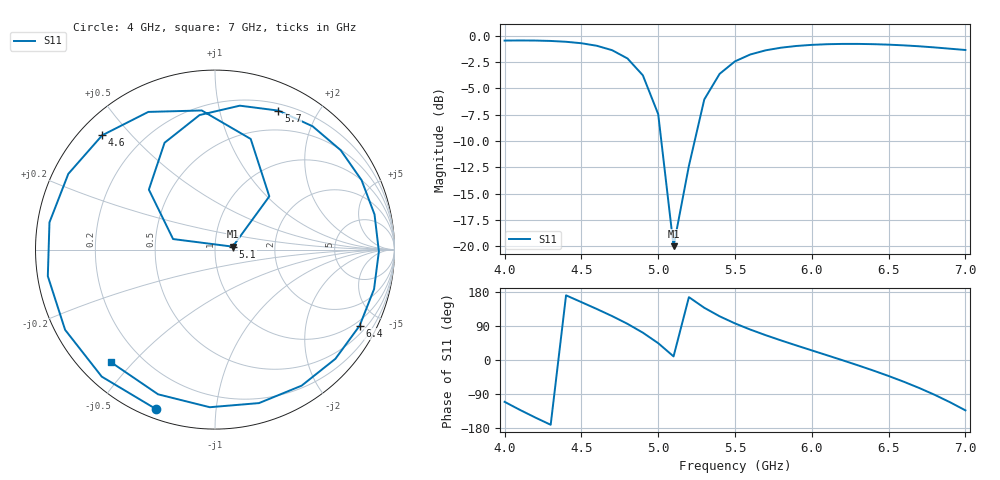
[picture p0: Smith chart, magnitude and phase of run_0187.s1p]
! Touchstone file exported from HFSS 2024.2.0
!  File:  C:/Users/wsak9/Desktop/Sim Fast/Widenad Patch/WP_AI_V1_sweep.aedt
!  Generated:  10:45:12 PM Oct 13, 2026
!  Design:  A1_model
!  Project:  WP_AI_V1_sweep
!  Setup:  Setup1
!  Solution:  Sweep
! Variables:
!  Air_gap = 4.49mm
!  Curve_Amp1 = 1.63
!  Curve_len1 = 1
!  Curve_pos = 11.54mm
!  Extra = 3.86mm
!  H_sub = 0.79mm
!  L_Patch = 19.08mm
!  L_Patch1 = 14.17mm
!  Sx = 4.19mm
!  Sy = 4.69mm
!  WS = 0.78mm
!  W_Patch = 13.82mm
!  W_Patch1 = 10.31mm
!Data is not renormalized
# GHz S MA
! Terminal data exported
! Port[1] = 1
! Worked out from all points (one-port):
!   31 points, 4 GHz to 7 GHz, reference per port
!   lowest |S11| = -20.0 dB at 5.1 GHz (marker M1), VSWR 1.22
!   |S11| at or under -10 dB: 5.02 GHz to 5.238 GHz (217.3 MHz wide, 4.24 % of centre)
!   S11 on the Smith chart (normalised r, x): 4 GHz: 0.04, -0.69; 4.6 GHz: 0.07, +0.42; 5.1 GHz: 1.22, +0.04; 5.7 GHz: 0.27, +1.52; 6.4 GHz: 0.79, -3.90; 7 GHz: 0.09, -0.43
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4  0.947 -110.4
4.1  0.9482 -131.7
4.2  0.9472 -151.8
4.3  0.9431 -171.0
4.4  0.9347 170.7
4.5  0.9198 152.7
4.6  0.8948 134.6
4.7  0.8524 115.9
4.8  0.7787 95.4
4.9  0.6478 72.1
5  0.4237 44.4
5.1  0.09996 9.5
5.2  0.2408 165.9
5.3  0.4974 137.8
5.4  0.6582 115.3
5.5  0.7546 96.5
5.6  0.8137 80.2
5.7  0.8514 65.5
5.9  0.8928 38.3
6.1  0.9101 12.4
6.3  0.9131 -14.0
6.4  0.9106 -27.8
6.5  0.9057 -42.2
6.6  0.8987 -57.5
6.7  0.8896 -74.0
6.8  0.8786 -91.9
6.9  0.8664 -111.5
7  0.8544 -132.9
